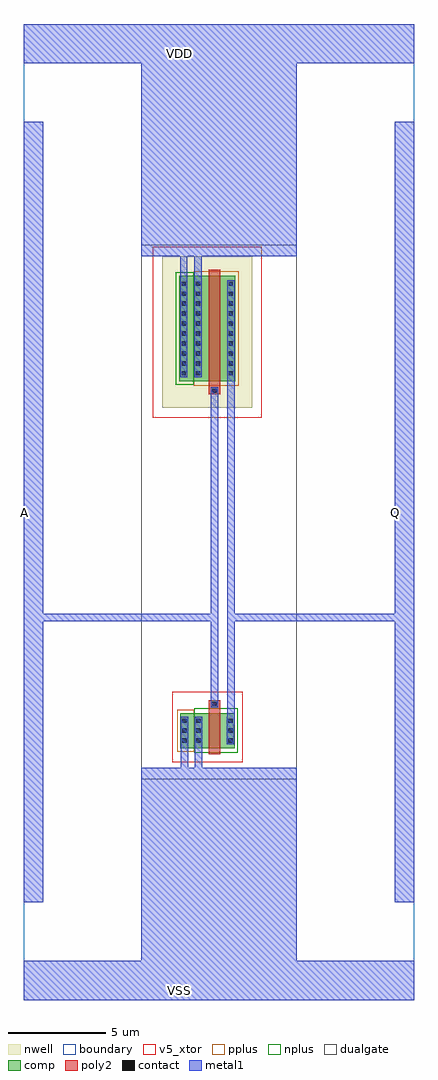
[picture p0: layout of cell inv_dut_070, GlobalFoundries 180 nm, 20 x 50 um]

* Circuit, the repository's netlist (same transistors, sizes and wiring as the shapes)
* inv_dut_070: pfet_05v0 W=5.40u L=0.60u / nfet_05v0 W=1.80u L=0.60u
.SUBCKT inv_dut_070 A Q VDD VSS
MMP Q A VDD VDD pfet_05v0 W=5.40u L=0.60u
MMN Q A VSS VSS nfet_05v0 W=1.80u L=0.60u
.ENDS

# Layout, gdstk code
import gdstk
lib = gdstk.Library(unit=1e-6, precision=1e-09)
def R(c, l, rs):  # rectangles x0, y0, x1, y1
    for r in rs: c.add(gdstk.rectangle(r[:2], r[2:], *l))
def A(c, l, x, y, w, h, nx, ny, dx, dy):  # array of equal rectangles
    R(c, l, [(x+i*dx, y+j*dy, x+i*dx+w, y+j*dy+h) for i in range(nx) for j in range(ny)])
boundary = (0, 0)
nwell = (21, 0)
comp = (22, 0)
poly2 = (30, 0)
pplus = (31, 0)
nplus = (32, 0)
contact = (33, 0)
metal1 = (34, 0)
dualgate = (55, 0)
v5_xtor = (112, 1)

inv_dut_070 = lib.new_cell('inv_dut_070')
R(inv_dut_070, boundary, [(-10,-25,10,25)])
R(inv_dut_070, nwell, [(-2.895,5.33,1.695,13.09)])
R(inv_dut_070, comp, [(-1.975,-12.1,0.795,-10.3), (-2.035,6.7,0.835,12.1)])
R(inv_dut_070, poly2, [(-0.535,-12.4,0.065,-9.64), (-0.535,6.02,0.065,12.4)])
R(inv_dut_070, pplus, [(-2.145,-12.27,-1.265,-10.13), (-1.305,6.46,1.005,12.34)])
R(inv_dut_070, nplus, [(-1.265,-12.34,0.965,-10.06), (-2.205,6.53,-1.305,12.27)])
A(inv_dut_070, contact, -1.875, -11.82, 0.22, 0.22, 1, 3, 0, 0.51)
A(inv_dut_070, contact, -1.165, -11.82, 0.22, 0.22, 1, 3, 0, 0.51)
A(inv_dut_070, contact, 0.475, -11.82, 0.22, 0.22, 1, 3, 0, 0.51)
A(inv_dut_070, contact, -1.915, 6.995, 0.22, 0.22, 1, 10, 0, 0.51)
A(inv_dut_070, contact, -1.185, 6.995, 0.22, 0.22, 1, 10, 0, 0.51)
A(inv_dut_070, contact, 0.495, 6.995, 0.22, 0.22, 1, 10, 0, 0.51)
R(inv_dut_070, contact, [(-0.345,-9.93,-0.125,-9.71), (-0.345,6.1,-0.125,6.32)])
R(inv_dut_070, metal1, [(-10,-25,10,-23), (-3.995,-23,3.995,-13.4), (-10,-20,-9,20), (9,-20,10,20), (-3.995,-13.7,3.995,-13.1), (-1.955,-13.7,-1.575,-10.5), (-1.245,-13.7,-0.865,-10.5), (-1.955,-11.9,-1.575,-10.5), (-1.245,-11.9,-0.865,-10.5), (0.395,-11.9,0.775,-10.5), (0.395,-10.88,0.795,-10.5), (0.415,-10.88,0.795,7.295), (-0.425,-10.01,-0.045,6.4), (-0.425,-10.01,-0.045,-9.63), (-9,-5.6,-3.695,-5.2), (-3.995,-5.6,-0.045,-5.2), (0.415,-5.6,3.995,-5.2), (3.695,-5.6,9,-5.2), (-0.425,6.02,-0.045,6.4), (-1.995,6.915,-1.615,13.7), (-1.995,6.915,-1.615,11.885), (-1.265,6.915,-0.885,13.7), (-1.265,6.915,-0.885,11.885), (0.415,6.915,0.795,7.295), (0.415,6.915,0.795,11.885), (-3.995,13.1,3.995,13.7), (-3.995,13.4,3.995,23), (-10,23,10,25)])
R(inv_dut_070, dualgate, [(-3.995,-13.7,3.995,13.7), (-2.395,-12.81,1.215,-9.22), (-3.395,4.83,2.195,13.59)])
R(inv_dut_070, v5_xtor, [(-2.395,-12.81,1.215,-9.22), (-3.395,4.83,2.195,13.59)])
inv_dut_070.add(gdstk.Label('VDD', (-2,23.5), layer=34, texttype=10))
inv_dut_070.add(gdstk.Label('VSS', (-2,-24.5), layer=34, texttype=10))
inv_dut_070.add(gdstk.Label('A', (-9.97,0), layer=34, texttype=10))
inv_dut_070.add(gdstk.Label('Q', (9.03,0), layer=34, texttype=10))

lib.write_gds('inv_dut_070.gds')
